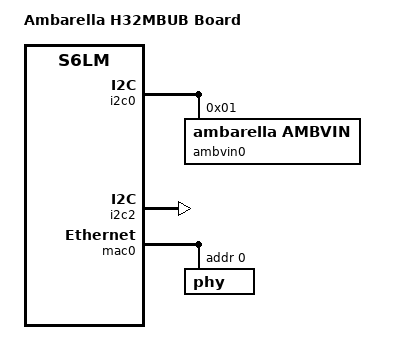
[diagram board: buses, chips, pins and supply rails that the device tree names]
/*
 * Copyright (C) 2013 Ambarella,Inc. - http://www.ambarella.com/
 * Author: Cao Rongrong <rrcao@ambarella.com>
 *
 * This program is free software; you can redistribute it and/or modify
 * it under the terms of the GNU General Public License version 2 as
 * published by the Free Software Foundation.
 */
/dts-v1/;

/include/ "ambarella-s6lm.dtsi"
#include "config.h"
#include "bsp.h"

/ {
	model = "Ambarella H32MBUB Board";
	compatible = "ambarella,h32mbub", "ambarella,s6lm";

	chosen {
#if defined(CONFIG_AMBARELLA_ROOTFS_CPIO)
		bootargs = "console=ttyS0";
#else
		bootargs = "console=ttyS0 ubi.mtd=lnx root=ubi0:rootfs rw rootfstype=ubifs init=/linuxrc";
#endif
	};

	reserved-memory {
		#address-cells = <1>;
		#size-cells = <1>;
		ranges;
	};

	n_apb@e4000000 {
		i2c0: i2c@e4008000 {
			status = "ok";

			ambvin0@01 {
				compatible = "ambarella,ambvin";
				reg = <0x01>;	/* fake address, will be overwritten in runtime */
			};

		};

		i2c2: i2c@e400a000 {
			status = "ok";
			pinctrl-0 = <&i2c2_pins_c>;
		};
	};

	n_ahb@e0000000 {
		sdmmc0: sdmmc0@e0004000 {
			pwr-gpios = <&gpio 63 0x1>;
			v18-gpios = <&gpio 85 0x1>;
#if defined(CONFIG_BOOT_MEDIA_EMMC)
			amb,fixed-cd = <1>;
#endif
		};

		sdmmc1: sdmmc1@e0005000 {
			pwr-gpios = <&gpio 62 0x1>;
			v18-gpios = <&gpio 12 0x1>;
			status = "disabled";
		};

		sdmmc2: sdmmc2@e0016000 {
			status = "disabled";
		};

		mac0: ethernet@e000e000 {
			amb,tx-clk-invert;
			phy@0 {
				reg = <0>;
			};
		};

		hdmi@e000b000 {
			amb,i2c-adapter = <2>;
		};

	};

	rct@ed080000 {
		usbphy: usbphy@ed080050 {
			/* high will trigger the ocp interrupt */
			amb,ocp-polarity = <0>;
			pinctrl-names = "default";
		};
	};

	bogus_bus {
		dummycodec: codec@0 {
 			compatible = "ambarella,dummycodec";
 			reg = <0>;
			#sound-dai-cells = <0>;
		};
	};
};
